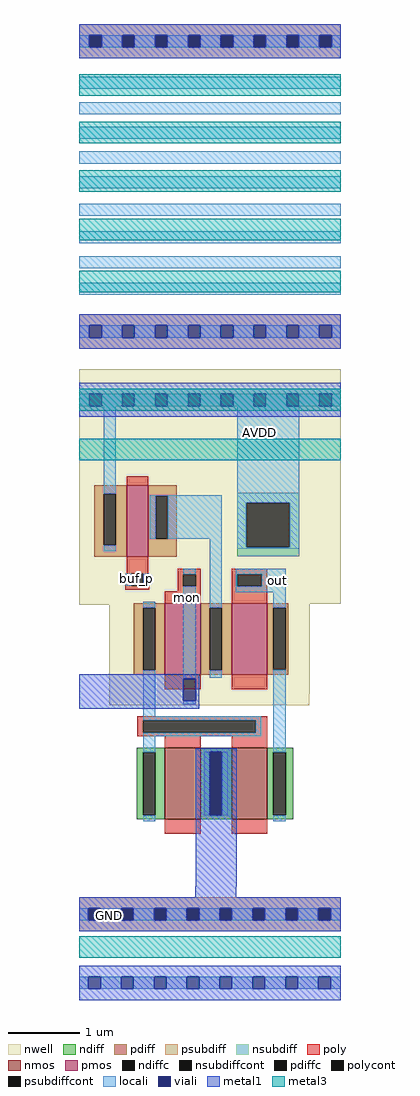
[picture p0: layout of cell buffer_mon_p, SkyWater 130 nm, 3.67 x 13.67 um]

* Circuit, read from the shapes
.subckt buffer_mon_p GND mon out buf_p AVDD
XM1 GND n1 n1 GND sky130_fd_pr__nfet_01v8 w=1 l=0.5
XM2 out n1 GND GND sky130_fd_pr__nfet_01v8 w=1 l=0.5
XM3 n2 buf_p AVDD AVDD sky130_fd_pr__pfet_01v8 w=1 l=0.3
XM4 n2 mon n1 AVDD sky130_fd_pr__pfet_01v8 w=1 l=0.5
XM5 out out n2 AVDD sky130_fd_pr__pfet_01v8 w=1 l=0.5
.ends

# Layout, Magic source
magic
tech sky130A
magscale 1 2
<< nwell >>
rect 203 1109 936 1766
rect 204 1107 849 1109
rect 287 858 849 1107
rect 287 826 848 858
<< nmos >>
rect 443 506 543 706
rect 630 506 730 706
<< pmos >>
rect 337 1241 397 1441
rect 443 911 543 1111
rect 630 911 730 1111
<< ndiff >>
rect 365 694 443 706
rect 365 518 382 694
rect 416 518 443 694
rect 365 506 443 518
rect 543 695 630 706
rect 543 518 569 695
rect 603 518 630 695
rect 543 506 630 518
rect 730 694 802 706
rect 730 518 747 694
rect 781 518 802 694
rect 730 506 802 518
<< pdiff >>
rect 420 1441 477 1442
rect 246 1417 337 1441
rect 246 1273 272 1417
rect 306 1273 337 1417
rect 246 1241 337 1273
rect 397 1412 477 1441
rect 397 1292 417 1412
rect 451 1292 477 1412
rect 397 1241 477 1292
rect 356 1099 443 1111
rect 356 923 382 1099
rect 416 923 443 1099
rect 356 911 443 923
rect 543 1099 630 1111
rect 543 923 569 1099
rect 603 923 630 1099
rect 543 911 630 923
rect 730 1099 789 1111
rect 730 925 747 1099
rect 781 925 789 1099
rect 730 911 789 925
<< ndiffc >>
rect 382 518 416 694
rect 569 518 603 695
rect 747 518 781 694
<< pdiffc >>
rect 272 1273 306 1417
rect 417 1292 451 1412
rect 382 923 416 1099
rect 569 923 603 1099
rect 747 925 781 1099
<< psubdiff >>
rect 203 2702 936 2733
rect 203 2668 232 2702
rect 266 2668 324 2702
rect 358 2668 416 2702
rect 450 2668 508 2702
rect 542 2668 600 2702
rect 634 2668 692 2702
rect 726 2668 784 2702
rect 818 2668 876 2702
rect 910 2668 936 2702
rect 203 2637 936 2668
rect 203 1824 936 1920
rect 203 257 936 288
rect 203 223 229 257
rect 263 223 321 257
rect 355 223 413 257
rect 447 223 505 257
rect 539 223 597 257
rect 631 223 689 257
rect 723 223 781 257
rect 815 223 873 257
rect 907 223 936 257
rect 203 192 936 223
<< nsubdiff >>
rect 646 1393 820 1421
rect 646 1268 671 1393
rect 793 1268 820 1393
rect 646 1242 820 1268
<< psubdiffcont >>
rect 232 2668 266 2702
rect 324 2668 358 2702
rect 416 2668 450 2702
rect 508 2668 542 2702
rect 600 2668 634 2702
rect 692 2668 726 2702
rect 784 2668 818 2702
rect 876 2668 910 2702
rect 229 223 263 257
rect 321 223 355 257
rect 413 223 447 257
rect 505 223 539 257
rect 597 223 631 257
rect 689 223 723 257
rect 781 223 815 257
rect 873 223 907 257
<< nsubdiffcont >>
rect 671 1268 793 1393
<< poly >>
rect 337 1441 397 1467
rect 337 1194 397 1241
rect 332 1160 349 1194
rect 383 1160 400 1194
rect 332 1149 400 1160
rect 479 1192 543 1208
rect 479 1158 494 1192
rect 529 1158 543 1192
rect 479 1144 543 1158
rect 443 1111 543 1144
rect 630 1192 730 1207
rect 630 1158 646 1192
rect 714 1158 730 1192
rect 630 1111 730 1158
rect 443 870 543 911
rect 630 870 730 911
rect 366 783 730 794
rect 366 749 382 783
rect 697 749 730 783
rect 366 739 730 749
rect 443 706 543 739
rect 630 706 730 739
rect 443 465 543 506
rect 630 465 730 506
<< polycont >>
rect 349 1160 383 1194
rect 494 1158 529 1192
rect 646 1158 714 1192
rect 382 749 697 783
<< locali >>
rect 203 2668 232 2702
rect 266 2668 324 2702
rect 358 2668 416 2702
rect 450 2668 508 2702
rect 542 2668 600 2702
rect 634 2668 692 2702
rect 726 2668 784 2702
rect 818 2668 876 2702
rect 910 2668 936 2702
rect 203 2551 936 2585
rect 203 2480 936 2514
rect 203 2411 936 2445
rect 203 2342 936 2376
rect 203 2273 936 2307
rect 203 2196 936 2230
rect 203 2119 936 2153
rect 203 2049 936 2083
rect 203 1975 936 2009
rect 203 1855 232 1889
rect 266 1855 324 1889
rect 358 1855 416 1889
rect 450 1855 508 1889
rect 542 1855 600 1889
rect 634 1855 692 1889
rect 726 1855 784 1889
rect 818 1855 876 1889
rect 910 1855 936 1889
rect 203 1663 232 1697
rect 266 1663 324 1697
rect 358 1663 416 1697
rect 450 1663 508 1697
rect 542 1663 600 1697
rect 634 1663 692 1697
rect 726 1663 784 1697
rect 818 1663 876 1697
rect 910 1663 936 1697
rect 272 1417 306 1663
rect 401 1412 603 1413
rect 401 1292 417 1412
rect 451 1292 603 1412
rect 272 1257 306 1273
rect 333 1160 349 1194
rect 383 1160 399 1194
rect 494 1192 529 1208
rect 382 1099 416 1115
rect 382 794 416 923
rect 494 899 529 1158
rect 569 1099 603 1292
rect 646 1393 820 1663
rect 646 1268 671 1393
rect 793 1268 820 1393
rect 646 1263 820 1268
rect 641 1192 781 1208
rect 641 1158 646 1192
rect 714 1158 781 1192
rect 641 1142 781 1158
rect 569 902 603 923
rect 747 1099 781 1142
rect 494 828 529 838
rect 382 783 713 794
rect 697 749 713 783
rect 382 739 713 749
rect 382 694 416 739
rect 382 500 416 518
rect 553 517 569 695
rect 603 517 619 695
rect 747 694 781 925
rect 747 500 781 518
rect 203 223 229 257
rect 263 223 321 257
rect 355 223 413 257
rect 447 223 505 257
rect 539 223 597 257
rect 631 223 689 257
rect 723 223 781 257
rect 815 223 873 257
rect 907 223 936 257
rect 203 31 229 65
rect 263 31 321 65
rect 355 31 413 65
rect 447 31 505 65
rect 539 31 597 65
rect 631 31 689 65
rect 723 31 781 65
rect 815 31 873 65
rect 907 31 936 65
<< viali >>
rect 232 2668 266 2702
rect 324 2668 358 2702
rect 416 2668 450 2702
rect 508 2668 542 2702
rect 600 2668 634 2702
rect 692 2668 726 2702
rect 784 2668 818 2702
rect 876 2668 910 2702
rect 232 1855 266 1889
rect 324 1855 358 1889
rect 416 1855 450 1889
rect 508 1855 542 1889
rect 600 1855 634 1889
rect 692 1855 726 1889
rect 784 1855 818 1889
rect 876 1855 910 1889
rect 232 1663 266 1697
rect 324 1663 358 1697
rect 416 1663 450 1697
rect 508 1663 542 1697
rect 600 1663 634 1697
rect 692 1663 726 1697
rect 784 1663 818 1697
rect 876 1663 910 1697
rect 494 838 529 899
rect 569 518 603 695
rect 569 517 603 518
rect 229 223 263 257
rect 321 223 355 257
rect 413 223 447 257
rect 505 223 539 257
rect 597 223 631 257
rect 689 223 723 257
rect 781 223 815 257
rect 873 223 907 257
rect 229 31 263 65
rect 321 31 355 65
rect 413 31 447 65
rect 505 31 539 65
rect 597 31 631 65
rect 689 31 723 65
rect 781 31 815 65
rect 873 31 907 65
<< metal1 >>
rect 203 2702 936 2733
rect 203 2668 232 2702
rect 266 2668 324 2702
rect 358 2668 416 2702
rect 450 2668 508 2702
rect 542 2668 600 2702
rect 634 2668 692 2702
rect 726 2668 784 2702
rect 818 2668 876 2702
rect 910 2668 936 2702
rect 203 2637 936 2668
rect 203 1889 936 1920
rect 203 1855 232 1889
rect 266 1855 324 1889
rect 358 1855 416 1889
rect 450 1855 508 1889
rect 542 1855 600 1889
rect 634 1855 692 1889
rect 726 1855 784 1889
rect 818 1855 876 1889
rect 910 1855 936 1889
rect 203 1824 936 1855
rect 203 1697 936 1728
rect 203 1663 232 1697
rect 266 1663 324 1697
rect 358 1663 416 1697
rect 450 1663 508 1697
rect 542 1663 600 1697
rect 634 1663 692 1697
rect 726 1663 784 1697
rect 818 1663 876 1697
rect 910 1663 936 1697
rect 203 1633 936 1663
rect 203 899 540 912
rect 203 838 494 899
rect 529 838 540 899
rect 203 816 540 838
rect 529 695 644 705
rect 529 517 569 695
rect 603 517 644 695
rect 529 317 644 517
rect 528 288 643 317
rect 203 257 936 288
rect 203 223 229 257
rect 263 223 321 257
rect 355 223 413 257
rect 447 223 505 257
rect 539 223 597 257
rect 631 223 689 257
rect 723 223 781 257
rect 815 223 873 257
rect 907 223 936 257
rect 203 192 936 223
rect 203 65 936 96
rect 203 31 229 65
rect 263 31 321 65
rect 355 31 413 65
rect 447 31 505 65
rect 539 31 597 65
rect 631 31 689 65
rect 723 31 781 65
rect 815 31 873 65
rect 907 31 936 65
rect 203 0 936 31
<< metal3 >>
rect 203 2532 936 2592
rect 203 2399 936 2459
rect 203 2263 936 2323
rect 203 2128 936 2188
rect 203 1982 936 2042
rect 203 1650 936 1712
rect 203 1512 936 1572
rect 203 118 936 178
<< labels >>
flabel metal1 272 233 302 243 1 FreeSans 320 0 0 0 GND
port 7 n
flabel locali 506 1125 509 1129 1 FreeSans 320 0 0 0 mon
port 11 n
flabel locali 752 1164 767 1183 1 FreeSans 320 0 0 0 out
port 12 n
flabel polycont 355 1171 372 1188 1 FreeSans 320 0 0 0 buf_p
port 13 n
flabel locali 700 1588 714 1589 1 FreeSans 320 0 0 0 AVDD
port 14 n
<< end >>
